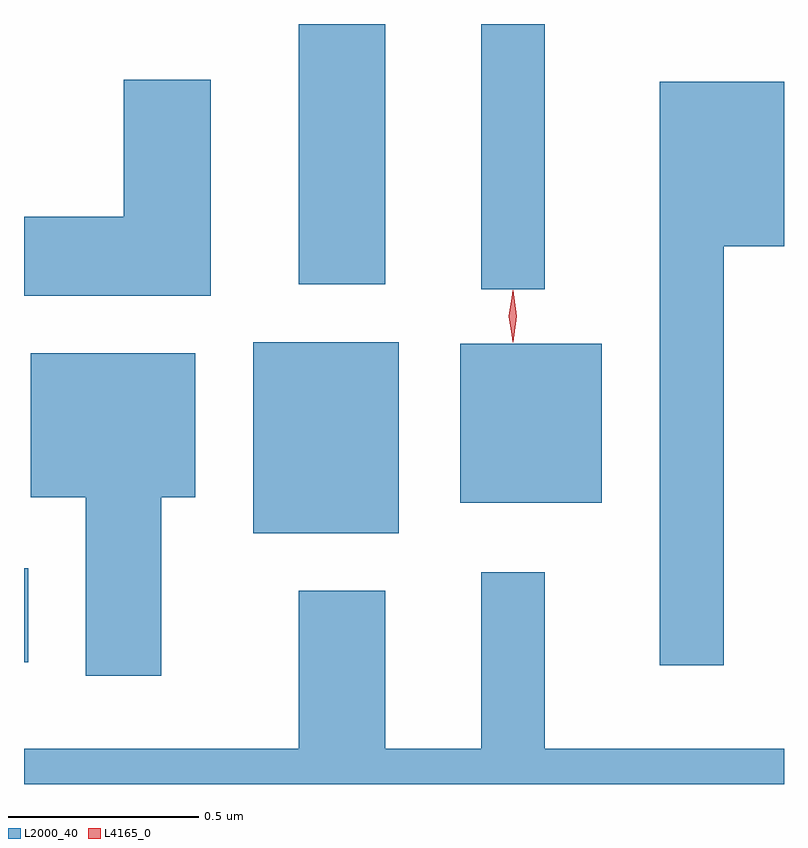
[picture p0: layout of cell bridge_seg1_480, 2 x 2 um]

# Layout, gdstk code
import gdstk
lib = gdstk.Library(unit=1e-6, precision=1e-09)
def R(c, l, rs):  # rectangles x0, y0, x1, y1
    for r in rs: c.add(gdstk.rectangle(r[:2], r[2:], *l))
def P(c, l, *ps):  # polygons
    for p in ps: c.add(gdstk.Polygon(p, *l))
L2000_40 = (2000, 40)
L4165_0 = (4165, 0)

bridge_seg1_480 = lib.new_cell('bridge_seg1_480')
R(bridge_seg1_480, L2000_40, [(203.418,877.871,203.429,878.119), (204.021,878.211,204.404,878.714), (204.566,878.291,204.939,878.709), (204.621,878.853,204.789,879.551), (204.141,878.866,204.369,879.551)])
P(bridge_seg1_480, L2000_40, [(203.909,879.404),(203.681,879.404),(203.681,879.044),(203.418,879.044),(203.418,878.836),(203.909,878.836)],
  [(205.259,878.966),(205.418,878.966),(205.418,879.399),(205.091,879.399),(205.091,877.863),(205.259,877.863)],
  [(203.779,878.306),(203.869,878.306),(203.869,878.684),(203.436,878.684),(203.436,878.306),(203.581,878.306),(203.581,877.836),(203.779,877.836)],
  [(205.418,877.644),(204.789,877.644),(204.789,878.108),(204.621,878.108),(204.621,877.644),(204.369,877.644),(204.369,878.059),(204.141,878.059),(204.141,877.644),(203.418,877.644),(203.418,877.551),(205.418,877.551)])
P(bridge_seg1_480, L4165_0, [(204.704,878.718),(204.704,878.718),(204.694,878.782),(204.704,878.846),(204.704,878.847),(204.705,878.846),(204.714,878.782),(204.705,878.718)],
  [(204.704,878.714),(204.695,878.782),(204.704,878.85),(204.705,878.85),(204.705,878.85),(204.715,878.782),(204.705,878.714),(204.705,878.714)])

lib.write_gds('bridge_seg1_480.gds')
